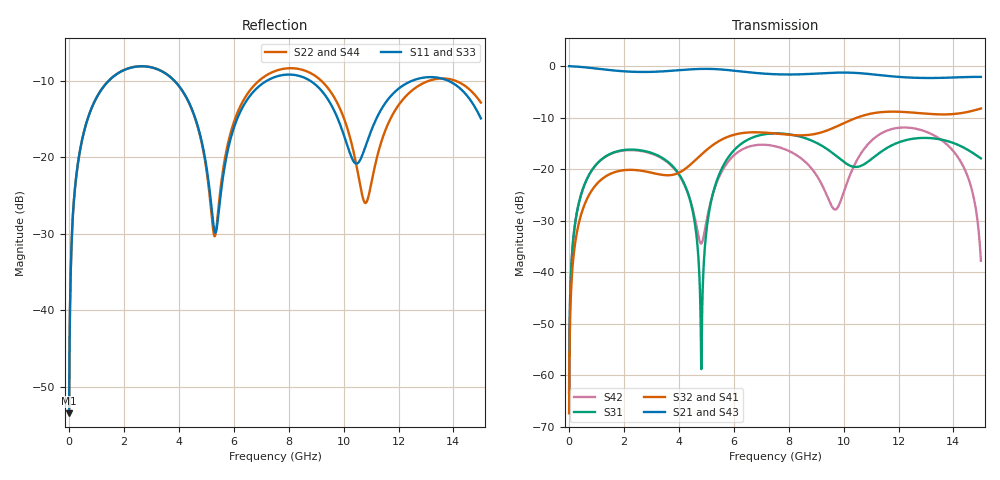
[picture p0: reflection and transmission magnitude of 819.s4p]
! Created with skrf 1.8.0 (http://scikit-rf.org).
# GHz S RI R 50.0
!freq ReS11 ImS11 ReS12 ImS12 ReS13 ImS13
! ReS14 ImS14
! ReS21 ImS21 ReS22 ImS22 ReS23 ImS23
! ReS24 ImS24
! ReS31 ImS31 ReS32 ImS32 ReS33 ImS33
! ReS34 ImS34
! ReS41 ImS41 ReS42 ImS42 ReS43 ImS43
! ReS44 ImS44
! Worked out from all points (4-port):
!   2499 points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, 5 MHz to 15 GHz, reference 50 ohm
!   strongest paths, dB at 5 MHz, 3.476 GHz, 7.19 GHz, 11.1 GHz, 15 GHz:
!     S21: 0.0, -1.0, -1.5, -1.6, -2.1
!     S43: 0.0, -1.0, -1.5, -1.6, -2.1
!     S32: -67.4, -21.2, -12.9, -9.1, -8.2
!     S41: -67.4, -21.2, -13.0, -9.1, -8.2
!     S31: -63.5, -18.1, -13.2, -17.7, -17.9
!     S42: -63.5, -18.2, -15.3, -14.1, -37.8
!   lowest |S11| = -53.5 dB at 5 MHz (marker M1), VSWR 1.00, Z = 50.2 + j0.129 ohm
!   |S11| at or under -10 dB: start of sweep to 1.444 GHz; 3.841 GHz to 7.198 GHz (3.357 GHz wide, 60.8 % of centre); 8.79 GHz to 12.49 GHz (3.696 GHz wide, 34.7 % of centre) (the widest 3 of 4)
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0.005  0.00169 0.00128  0.9983 -0.00329  8.48e-05 0.000665  -8.24e-05 -0.000418
       0.9983 -0.00329  0.00169 0.00128  -8.24e-05 -0.000418  8.47e-05 0.000665
       8.48e-05 0.000665  -8.24e-05 -0.000418  0.00169 0.00128  0.9983 -0.00329
       -8.24e-05 -0.000418  8.47e-05 0.000665  0.9983 -0.00329  0.00169 0.00128
0.3626511  0.0317 0.0959  0.9562 -0.2348  0.0152 0.0447  -0.0125 -0.0275
           0.9562 -0.2348  0.0318 0.0959  -0.0125 -0.0275  0.0149 0.0448
           0.0152 0.0447  -0.0125 -0.0275  0.0317 0.0959  0.9562 -0.2348
           -0.0125 -0.0275  0.0149 0.0448  0.9562 -0.2348  0.0318 0.0959
1.77574  0.3194 0.1517  0.4296 -0.7899  0.1439 0.0397  -0.0941 0.0134
         0.4296 -0.7899  0.3205 0.1506  -0.0943 0.0137  0.1407 0.0455
         0.1439 0.0397  -0.0943 0.0137  0.3192 0.1519  0.4296 -0.7899
         -0.0941 0.0134  0.1407 0.0455  0.4296 -0.7899  0.3207 0.1504
4.814506  0.0654 -0.1139  -0.8719 -0.349  -0.00107 -0.00062  -0.0486 0.1291
          -0.8719 -0.349  0.0621 -0.1126  -0.0459 0.1302  -0.0183 -0.00493
          -0.00107 -0.00062  -0.0459 0.1302  0.0657 -0.1135  -0.872 -0.3488
          -0.0486 0.1291  -0.0183 -0.00493  -0.872 -0.3488  0.0616 -0.1125
6.127553  0.1177 0.1347  -0.8127 0.3757  0.1348 0.0928  0.1192 0.1833
          -0.8127 0.3757  0.1288 0.1457  0.1231 0.1815  0.0765 0.1226
          0.1348 0.0928  0.1231 0.1815  0.1175 0.1353  -0.8122 0.3761
          0.1192 0.1833  0.0765 0.1226  -0.8122 0.3761  0.1298 0.147
10.66069  0.0956 0.0331  0.8417 0.1243  -0.0756 0.0776  0.0491 -0.3239
          0.8417 0.1243  0.0481 -0.0333  0.0356 -0.3256  0.0688 0.1283
          -0.0756 0.0776  0.0356 -0.3256  0.1011 0.0271  0.8412 0.1257
          0.0491 -0.3239  0.0688 0.1283  0.8412 0.1257  0.0467 -0.0373
15  0.1554 -0.0902  -0.5173 -0.5912  -0.0806 -0.0983  -0.2916 0.2546
    -0.5173 -0.5912  0.1893 -0.1269  -0.2747 0.273  -0.00314 -0.0125
    -0.0806 -0.0983  -0.2747 0.273  0.1618 -0.0852  -0.5178 -0.5904
    -0.2916 0.2546  -0.00314 -0.0125  -0.5178 -0.5904  0.1867 -0.1317
